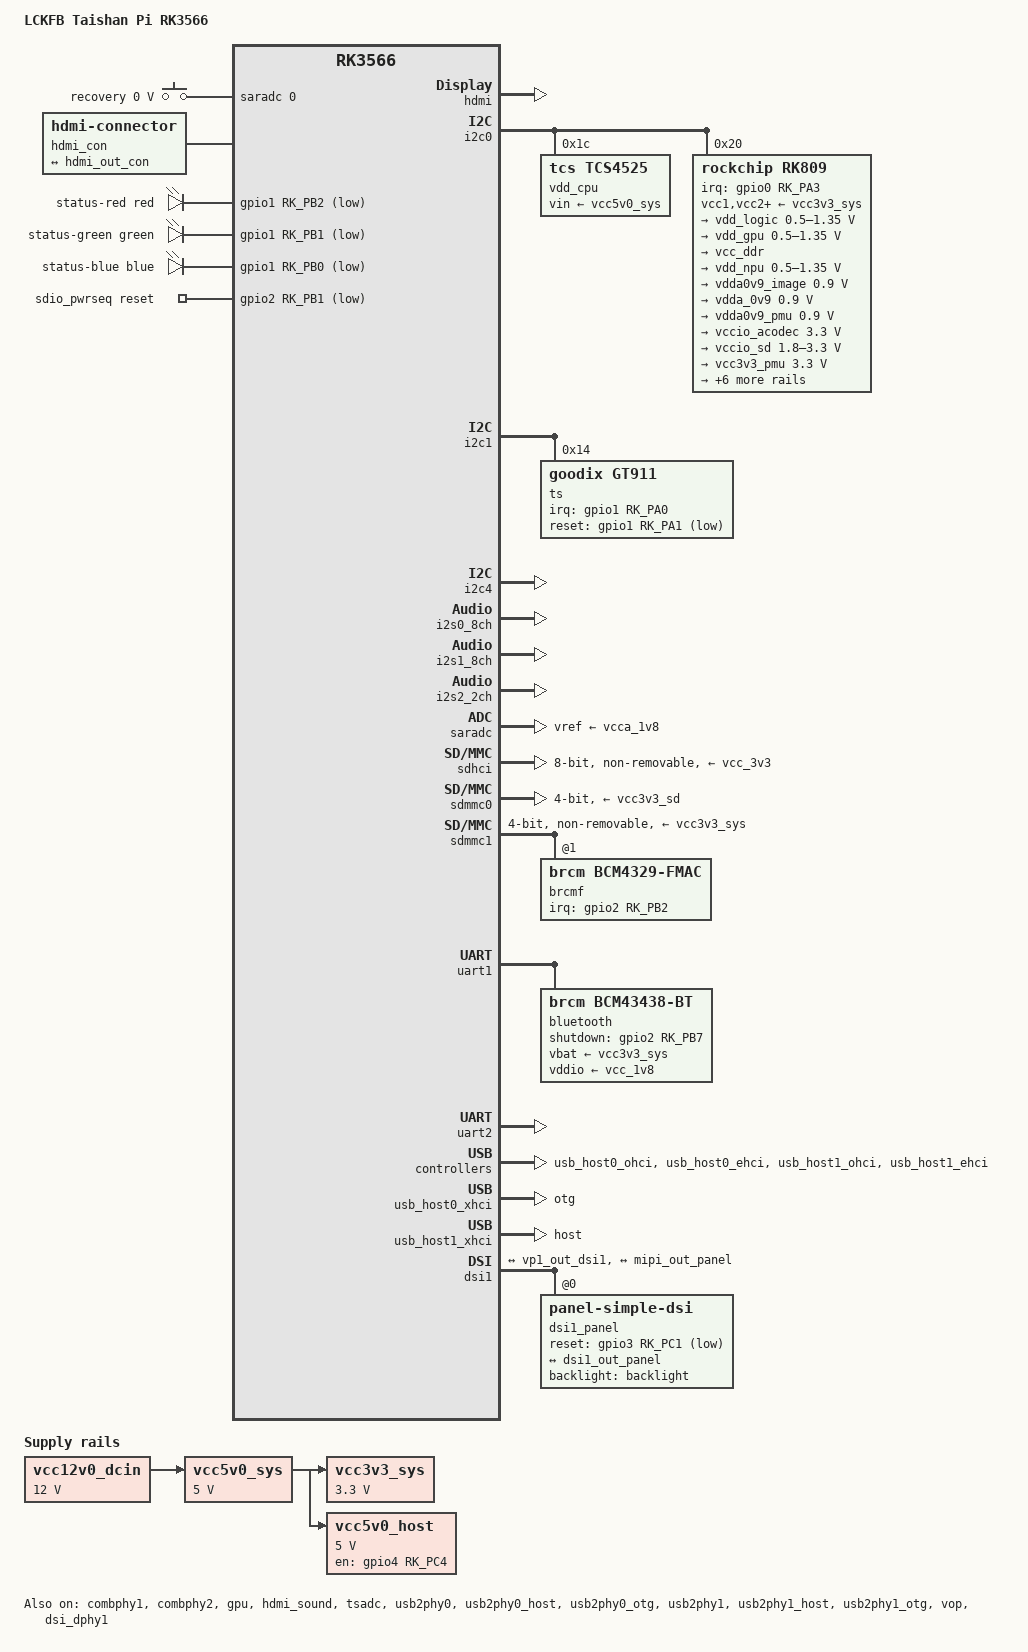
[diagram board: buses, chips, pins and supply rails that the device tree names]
// SPDX-License-Identifier: (GPL-2.0+ OR MIT)

/dts-v1/;

#include <dt-bindings/gpio/gpio.h>
#include <dt-bindings/input/input.h>
#include <dt-bindings/leds/common.h>
#include <dt-bindings/pinctrl/rockchip.h>
#include <dt-bindings/soc/rockchip,vop2.h>
#include <dt-bindings/soc/rockchip,boot-mode.h>
#include "rk3566.dtsi"

/ {
	model = "LCKFB Taishan Pi RK3566";
	compatible = "lckfb,tspi-rk3566", "rockchip,rk3566";

	aliases {
		mmc0 = &sdmmc0;
		mmc1 = &sdhci;
		mmc2 = &sdmmc1;
	};

	chosen: chosen {
		stdout-path = "serial2:1500000n8";
	};

	reserved-memory {
		#address-cells = <2>;
		#size-cells = <2>;
		ranges;

		ramoops: ramoops@110000 {
			compatible = "ramoops";
			reg = <0 0x110000 0 0xf0000>;
			console-size = <0x80000>;
			ftrace-size = <0x00000>;
			pmsg-size = <0x50000>;
			record-size = <0x20000>;
		};
	};

	adc_keys: adc-keys {
		compatible = "adc-keys";
		io-channels = <&saradc 0>;
		io-channel-names = "buttons";
		keyup-threshold-microvolt = <1800000>;
		poll-interval = <100>;

		button-recovery {
			label = "recovery";
			linux,code = <KEY_RESTART>;
			press-threshold-microvolt = <108>;
		};
	};

	hdmi_con: hdmi-con {
		compatible = "hdmi-connector";
		type = "d";

		port {
			hdmi_con_in: endpoint {
				remote-endpoint = <&hdmi_out_con>;
			};
		};
	};

	leds: leds {
		compatible = "gpio-leds";

		rgb_led_r: rgb-led-r {
			color = <LED_COLOR_ID_RED>;
			gpios = <&gpio1 RK_PB2 GPIO_ACTIVE_LOW>;
			label = "status-red";
			linux,default-trigger = "heartbeat";
		};

		rgb_led_g: rgb-led-g {
			gpios = <&gpio1 RK_PB1 GPIO_ACTIVE_LOW>;
			color = <LED_COLOR_ID_GREEN>;
			label = "status-green";
		};

		rgb_led_b: rgb-led-b {
			gpios = <&gpio1 RK_PB0 GPIO_ACTIVE_LOW>;
			color = <LED_COLOR_ID_BLUE>;
			label = "status-blue";
		};
	};

	// multi_leds: multi-led {
	// 	compatible = "leds-group-multicolor";
	// 	color = <LED_COLOR_ID_RGB>;
	// 	label = "status-rgb";
	// 	function = LED_FUNCTION_INDICATOR;
	// 	leds = <&rgb_led_r>, <&rgb_led_g>, <&rgb_led_b>;
	// };

	vcc12v0_dcin: regulator-12v0-dcin {
		compatible = "regulator-fixed";
		regulator-name = "vcc12v0_dcin";
		regulator-always-on;
		regulator-boot-on;
		regulator-min-microvolt = <12000000>;
		regulator-max-microvolt = <12000000>;
	};

	vcc3v3_sys: regulator-3v3-vcc-sys {
		compatible = "regulator-fixed";
		regulator-name = "vcc3v3_sys";
		regulator-always-on;
		regulator-boot-on;
		regulator-min-microvolt = <3300000>;
		regulator-max-microvolt = <3300000>;
		vin-supply = <&vcc5v0_sys>;
	};

	vcc5v0_sys: regulator-5v0-vcc-sys {
		compatible = "regulator-fixed";
		regulator-name = "vcc5v0_sys";
		regulator-always-on;
		regulator-boot-on;
		regulator-min-microvolt = <5000000>;
		regulator-max-microvolt = <5000000>;
		vin-supply = <&vcc12v0_dcin>;
	};

	vcc5v0_host: regulator-5v0-vcc-host {
		compatible = "regulator-fixed";
		enable-active-high;
		gpio = <&gpio4 RK_PC4 GPIO_ACTIVE_HIGH>;
		pinctrl-names = "default";
		pinctrl-0 = <&vcc5v0_host_en>;
		regulator-name = "vcc5v0_host";
		regulator-min-microvolt = <5000000>;
		regulator-max-microvolt = <5000000>;
		vin-supply = <&vcc5v0_sys>;
	};

	sdio_pwrseq: sdio-pwrseq {
		compatible = "mmc-pwrseq-simple";
		clocks = <&rk809 1>;
		clock-names = "ext_clock";
		pinctrl-names = "default";
		pinctrl-0 = <&wifi_enable_h>;
		post-power-on-delay-ms = <200>;
		reset-gpios = <&gpio2 RK_PB1 GPIO_ACTIVE_LOW>;
	};

	sound {
		compatible = "simple-audio-card";
		simple-audio-card,format = "i2s";
		simple-audio-card,name = "Analog RK809";
		simple-audio-card,mclk-fs = <256>;

		simple-audio-card,cpu {
			sound-dai = <&i2s1_8ch>;
		};

		simple-audio-card,codec {
			sound-dai = <&rk809>;
		};
	};
};

&combphy1 {
	status = "okay";
};

&combphy2 {
	status = "okay";
};

&cpu0 {
	cpu-supply = <&vdd_cpu>;
};

&cpu1 {
	cpu-supply = <&vdd_cpu>;
};

&cpu2 {
	cpu-supply = <&vdd_cpu>;
};

&cpu3 {
	cpu-supply = <&vdd_cpu>;
};

&gpu {
	mali-supply = <&vdd_gpu>;
	status = "okay";
};

&hdmi {
	avdd-0v9-supply = <&vdda0v9_image>;
	avdd-1v8-supply = <&vcca1v8_image>;
	status = "okay";
};

&hdmi_in {
	hdmi_in_vp0: endpoint {
		remote-endpoint = <&vp0_out_hdmi>;
	};
};

&hdmi_out {
	hdmi_out_con: endpoint {
		remote-endpoint = <&hdmi_con_in>;
	};
};

&hdmi_sound {
	status = "okay";
};

&i2c0 {
	status = "okay";

	vdd_cpu: regulator@1c {
		compatible = "tcs,tcs4525";
		reg = <0x1c>;
		fcs,suspend-voltage-selector = <1>;
		regulator-name = "vdd_cpu";
		regulator-always-on;
		regulator-boot-on;
		regulator-min-microvolt = <800000>;
		regulator-max-microvolt = <1150000>;
		regulator-ramp-delay = <2300>;
		vin-supply = <&vcc5v0_sys>;

		regulator-state-mem {
			regulator-off-in-suspend;
		};
	};

	rk809: pmic@20 {
		compatible = "rockchip,rk809";
		reg = <0x20>;
		assigned-clocks = <&cru I2S1_MCLKOUT_TX>;
		assigned-clock-parents = <&cru CLK_I2S1_8CH_TX>;
		#clock-cells = <1>;
		clock-output-names = "rk808-clkout1", "rk808-clkout2";
		clock-names = "mclk";
		clocks = <&cru I2S1_MCLKOUT_TX>;
		interrupt-parent = <&gpio0>;
		interrupts = <RK_PA3 IRQ_TYPE_LEVEL_LOW>;
		pinctrl-names = "default";
		pinctrl-0 = <&pmic_int>, <&i2s1m0_mclk>;
		system-power-controller;
		#sound-dai-cells = <0>;
		wakeup-source;

		vcc1-supply = <&vcc3v3_sys>;
		vcc2-supply = <&vcc3v3_sys>;
		vcc3-supply = <&vcc3v3_sys>;
		vcc4-supply = <&vcc3v3_sys>;
		vcc5-supply = <&vcc3v3_sys>;
		vcc6-supply = <&vcc3v3_sys>;
		vcc7-supply = <&vcc3v3_sys>;
		vcc8-supply = <&vcc3v3_sys>;
		vcc9-supply = <&vcc3v3_sys>;

		regulators {
			vdd_logic: DCDC_REG1 {
				regulator-name = "vdd_logic";
				regulator-always-on;
				regulator-boot-on;
				regulator-min-microvolt = <500000>;
				regulator-max-microvolt = <1350000>;
				regulator-ramp-delay = <6001>;
				regulator-initial-mode = <0x2>;

				regulator-state-mem {
					regulator-off-in-suspend;
				};
			};

			vdd_gpu: DCDC_REG2 {
				regulator-name = "vdd_gpu";
				regulator-always-on;
				regulator-boot-on;
				regulator-min-microvolt = <500000>;
				regulator-max-microvolt = <1350000>;
				regulator-ramp-delay = <6001>;
				regulator-initial-mode = <0x2>;

				regulator-state-mem {
					regulator-off-in-suspend;
				};
			};

			vcc_ddr: DCDC_REG3 {
				regulator-name = "vcc_ddr";
				regulator-always-on;
				regulator-boot-on;
				regulator-initial-mode = <0x2>;

				regulator-state-mem {
					regulator-on-in-suspend;
				};
			};

			vdd_npu: DCDC_REG4 {
				regulator-name = "vdd_npu";
				regulator-always-on;
				regulator-boot-on;
				regulator-min-microvolt = <500000>;
				regulator-max-microvolt = <1350000>;
				regulator-ramp-delay = <6001>;
				regulator-initial-mode = <0x2>;

				regulator-state-mem {
					regulator-off-in-suspend;
				};
			};

			vdda0v9_image: LDO_REG1 {
				regulator-name = "vdda0v9_image";
				regulator-boot-on;
				regulator-always-on;
				regulator-min-microvolt = <900000>;
				regulator-max-microvolt = <900000>;

				regulator-state-mem {
					regulator-off-in-suspend;
				};
			};

			vdda_0v9: LDO_REG2 {
				regulator-name = "vdda_0v9";
				regulator-always-on;
				regulator-boot-on;
				regulator-min-microvolt = <900000>;
				regulator-max-microvolt = <900000>;
				regulator-state-mem {
					regulator-off-in-suspend;
				};
			};

			vdda0v9_pmu: LDO_REG3 {
				regulator-name = "vdda0v9_pmu";
				regulator-always-on;
				regulator-boot-on;
				regulator-min-microvolt = <900000>;
				regulator-max-microvolt = <900000>;

				regulator-state-mem {
					regulator-on-in-suspend;
					regulator-suspend-microvolt = <900000>;
				};
			};

			vccio_acodec: LDO_REG4 {
				regulator-name = "vccio_acodec";
				regulator-always-on;
				regulator-boot-on;
				regulator-min-microvolt = <3300000>;
				regulator-max-microvolt = <3300000>;

				regulator-state-mem {
					regulator-off-in-suspend;
				};
			};

			vccio_sd: LDO_REG5 {
				regulator-name = "vccio_sd";
				regulator-always-on;
				regulator-boot-on;
				regulator-min-microvolt = <1800000>;
				regulator-max-microvolt = <3300000>;

				regulator-state-mem {
					regulator-off-in-suspend;
				};
			};

			vcc3v3_pmu: LDO_REG6 {
				regulator-name = "vcc3v3_pmu";
				regulator-always-on;
				regulator-boot-on;
				regulator-min-microvolt = <3300000>;
				regulator-max-microvolt = <3300000>;

				regulator-state-mem {
					regulator-on-in-suspend;
					regulator-suspend-microvolt = <3300000>;
				};
			};

			vcca_1v8: LDO_REG7 {
				regulator-name = "vcca_1v8";
				regulator-always-on;
				regulator-boot-on;
				regulator-min-microvolt = <1800000>;
				regulator-max-microvolt = <1800000>;

				regulator-state-mem {
					regulator-off-in-suspend;
				};
			};

			vcca1v8_pmu: LDO_REG8 {
				regulator-name = "vcca1v8_pmu";
				regulator-always-on;
				regulator-boot-on;
				regulator-min-microvolt = <1800000>;
				regulator-max-microvolt = <1800000>;

				regulator-state-mem {
					regulator-on-in-suspend;
					regulator-suspend-microvolt = <1800000>;
				};
			};

			vcca1v8_image: LDO_REG9 {
				regulator-name = "vcca1v8_image";
				regulator-always-on;
				regulator-boot-on;
				regulator-min-microvolt = <1800000>;
				regulator-max-microvolt = <1800000>;

				regulator-state-mem {
					regulator-off-in-suspend;
				};
			};

			vcc_1v8: DCDC_REG5 {
				regulator-name = "vcc_1v8";
				regulator-always-on;
				regulator-boot-on;
				regulator-min-microvolt = <1800000>;
				regulator-max-microvolt = <1800000>;

				regulator-state-mem {
					regulator-off-in-suspend;
				};
			};

			vcc_3v3: SWITCH_REG1 {
				regulator-name = "vcc_3v3";
				regulator-always-on;
				regulator-boot-on;

				regulator-state-mem {
					regulator-off-in-suspend;
				};
			};

			vcc3v3_sd: SWITCH_REG2 {
				regulator-name = "vcc3v3_sd";
				regulator-always-on;
				regulator-boot-on;

				regulator-state-mem {
					regulator-off-in-suspend;
				};
			};
		};

		codec {
			rockchip,mic-in-differential;
		};
	};
};

&i2c1 {
	pinctrl-names = "default";
	// pinctrl-0 = <&i2c4m0_xfer>;
	status = "okay";
	/* Touch Screen */
	ts@14 {
		// pinctrl-0 = <&touch_gpio>;
		// compatible = "goodix,gt9xx";
		// reg = <0x5d>;
		// tp-size = <911>;
		// max-x = <720>;
		// max-y = <1280>;
		// touch-gpio = <&gpio1 RK_PA0 IRQ_TYPE_LEVEL_LOW>;
		// reset-gpio = <&gpio1 RK_PA1 GPIO_ACTIVE_HIGH>;

		compatible = "goodix,gt911";
		reg = <0x14>;
		pinctrl-names = "default";
		pinctrl-0 = <&touch_gpio_int>, <&touch_gpio_rst>;
		interrupt-parent = <&gpio1>;
		interrupts = <RK_PA0 IRQ_TYPE_EDGE_FALLING>;
		irq-gpios = <&gpio1 RK_PA0 GPIO_ACTIVE_HIGH>;
		reset-gpios = <&gpio1 RK_PA1 GPIO_ACTIVE_LOW>;
		status = "okay";
	};
};

&i2c4 {
	pinctrl-names = "default";
	pinctrl-0 = <&i2c4m0_xfer>;
	status = "okay";
	/* Camera */
};

&i2s0_8ch {
	status = "okay";
	/* HDMI */
};

&i2s1_8ch {
	pinctrl-names = "default";
	pinctrl-0 = <&i2s1m0_sclktx &i2s1m0_lrcktx &i2s1m0_sdi0 &i2s1m0_sdo0>;
	rockchip,trcm-sync-tx-only;
	status = "okay";
	/* PMIC */
};

&i2s2_2ch {
	rockchip,trcm-sync-tx-only;
	status = "okay";
	/* AP6212 Bluetooth */
};

&pinctrl {
	bt {
		bt_enable_h: bt-enable-h {
			rockchip,pins = <2 RK_PB7 RK_FUNC_GPIO &pcfg_pull_none>;
		};

		bt_host_wake_l: bt-host-wake-l {
			rockchip,pins = <2 RK_PC0 RK_FUNC_GPIO &pcfg_pull_down>;
		};

		bt_wake_l: bt-wake-l {
			rockchip,pins = <2 RK_PC1 RK_FUNC_GPIO &pcfg_pull_none>;
		};
	};

	hp-detect {
		hp_det: hp-det {
			rockchip,pins = <4 RK_PC6 RK_FUNC_GPIO &pcfg_pull_up>;
		};
	};

	pmic {
		pmic_int: pmic-int {
			rockchip,pins = <0 RK_PA3 RK_FUNC_GPIO &pcfg_pull_up>;
		};
	};

	sdio-pwrseq {
		wifi_enable_h: wifi-enable-h {
			rockchip,pins = <2 RK_PB1 RK_FUNC_GPIO &pcfg_pull_none>;
		};

		wifi_host_wake_h: wifi-host-wake-l {
			rockchip,pins = <2 RK_PB2 RK_FUNC_GPIO &pcfg_pull_none>;
		};
	};

	usb2 {
		vcc5v0_host_en: vcc5v0-host-en {
			rockchip,pins = <4 RK_PC4 RK_FUNC_GPIO &pcfg_pull_none>;
		};
	};

	dsi1 {
		dsi1_rst_gpio: dsi1-rst-gpio {
			rockchip,pins = <3 RK_PC1 RK_FUNC_GPIO &pcfg_pull_none>;
		};
		touch_gpio_int: touch-gpio-int {
			rockchip,pins = <1 RK_PA0 RK_FUNC_GPIO &pcfg_pull_up>;
			// rockchip,pins = <1 RK_PA1 RK_FUNC_GPIO &pcfg_pull_none>;
		};

		touch_gpio_rst: touch-gpio-rst {
			// rockchip,pins = <1 RK_PA0 RK_FUNC_GPIO &pcfg_pull_up>;
			rockchip,pins = <1 RK_PA1 RK_FUNC_GPIO &pcfg_pull_none>;
		};
	};
};

&pmu_io_domains {
	pmuio1-supply = <&vcc3v3_pmu>;
	pmuio2-supply = <&vcc3v3_pmu>;
	vccio1-supply = <&vccio_acodec>;
	vccio2-supply = <&vcc_1v8>;
	vccio3-supply = <&vccio_sd>;
	vccio4-supply = <&vcc_1v8>;
	vccio5-supply = <&vcc_3v3>;
	vccio6-supply = <&vcc_1v8>;
	vccio7-supply = <&vcc_3v3>;
	status = "okay";
};

&pmugrf {
	reboot-mode {
		compatible = "syscon-reboot-mode";
		offset = <0x200>;
		mode-normal = <BOOT_NORMAL>;
		mode-loader = <BOOT_BL_DOWNLOAD>;
		mode-recovery = <BOOT_RECOVERY>;
		mode-bootloader = <BOOT_FASTBOOT>;
	};
};

&saradc {
	vref-supply = <&vcca_1v8>;
	status = "okay";
	/* Channel 0: Recovery Button */
	/* Channel 1: Hardware ID */
};

&sdhci {
	bus-width = <8>;
	max-frequency = <200000000>;
	non-removable;
	pinctrl-names = "default";
	pinctrl-0 = <&emmc_bus8 &emmc_clk &emmc_cmd &emmc_datastrobe &emmc_rstnout>;
	vmmc-supply = <&vcc_3v3>;
	vqmmc-supply = <&vcc_1v8>;
	status = "okay";
};

&sdmmc0 {
	bus-width = <4>;
	cap-mmc-highspeed;
	cap-sd-highspeed;
	disable-wp;
	max-frequency = <150000000>;
	pinctrl-names = "default";
	pinctrl-0 = <&sdmmc0_bus4 &sdmmc0_clk &sdmmc0_cmd &sdmmc0_det>;
	sd-uhs-sdr104;
	vmmc-supply = <&vcc3v3_sd>;
	vqmmc-supply = <&vcc_1v8>;
	status = "okay";
};

&sdmmc1 {
	bus-width = <4>;
	cap-sd-highspeed;
	cap-sdio-irq;
	disable-wp;
	keep-power-in-suspend;
	max-frequency = <150000000>;
	mmc-pwrseq = <&sdio_pwrseq>;
	non-removable;
	pinctrl-names = "default";
	pinctrl-0 = <&sdmmc1_bus4 &sdmmc1_cmd &sdmmc1_clk>;
	sd-uhs-sdr104;
	vmmc-supply = <&vcc3v3_sys>;
	vqmmc-supply = <&vcc_1v8>;
	#address-cells = <1>;
	#size-cells = <0>;
	status = "okay";

	brcmf: wifi@1 {
		compatible = "brcm,bcm4329-fmac";
		reg = <1>;
		interrupt-parent = <&gpio2>;
		interrupts = <RK_PB2 IRQ_TYPE_LEVEL_HIGH>;
		interrupt-names = "host-wake";
		pinctrl-names = "default";
		pinctrl-0 = <&wifi_host_wake_h>;
	};
};

&tsadc {
	rockchip,hw-tshut-mode = <1>;
	rockchip,hw-tshut-polarity = <0>;
	status = "okay";
};

&uart1 {
	pinctrl-names = "default";
	pinctrl-0 = <&uart1m0_xfer &uart1m0_ctsn &uart1m0_rtsn>;
	uart-has-rtscts;
	status = "okay";

	bluetooth: bluetooth {
		compatible = "brcm,bcm43438-bt";
		clocks = <&rk809 1>;
		clock-names = "lpo";
		max-speed = <3000000>;
		pinctrl-names = "default";
		pinctrl-0 = <&bt_host_wake_l &bt_wake_l &bt_enable_h>;
		shutdown-gpios = <&gpio2 RK_PB7 GPIO_ACTIVE_HIGH>;
		vbat-supply = <&vcc3v3_sys>;
		vddio-supply = <&vcc_1v8>;
	};
};

&uart2 {
	pinctrl-names = "default";
	pinctrl-0 = <&uart2m0_xfer>;
	status = "okay";
};

&usb_host0_ohci {
	status = "okay";
};

&usb_host0_ehci {
	status = "okay";
};

&usb_host0_xhci {
	dr_mode = "otg";
	status = "okay";
};

&usb_host1_ohci {
	status = "okay";
};

&usb_host1_ehci {
	status = "okay";
};

&usb_host1_xhci {
	dr_mode = "host";
	status = "okay";
};

&usb2phy0 {
	status = "okay";
};

&usb2phy0_host {
	phy-supply = <&vcc5v0_sys>;
	status = "okay";
};

&usb2phy0_otg {
	phy-supply = <&vcc5v0_sys>;
	status = "okay";
};

&usb2phy1 {
	status = "okay";
};

&usb2phy1_host {
	phy-supply = <&vcc5v0_host>;
	status = "okay";
};

&usb2phy1_otg {
	phy-supply = <&vcc5v0_host>;
	status = "okay";
};

&vop {
	assigned-clocks = <&cru DCLK_VOP0>, <&cru DCLK_VOP1>;
	assigned-clock-parents = <&pmucru PLL_HPLL>, <&cru PLL_VPLL>;
	status = "okay";
};

&vop_mmu {
	status = "okay";
};

&vp0 {
	vp0_out_hdmi: endpoint@ROCKCHIP_VOP2_EP_HDMI0 {
		reg = <ROCKCHIP_VOP2_EP_HDMI0>;
		remote-endpoint = <&hdmi_in_vp0>;
	};
};


&vp1 {
	vp1_out_dsi1: endpoint@ROCKCHIP_VOP2_EP_MIPI1 {
		reg = <ROCKCHIP_VOP2_EP_MIPI1>;
		remote-endpoint = <&dsi1_in_vp1>;
	};
};
&dsi1 {
	status = "okay";
	#address-cells = <1>;
	#size-cells = <0>;

	ports {
		dsi1_in: port@0 {
			reg = <0>;
			dsi1_in_vp1: endpoint {
				remote-endpoint = <&vp1_out_dsi1>;
			};
		};

		dsi1_out: port@1 {
			reg = <1>;
			mipi_out_panel: endpoint {
				remote-endpoint = <&mipi_in_panel>;
			};
		};
	};
};

&dsi_dphy1 {
	status = "okay";
};
// mipi 屏幕使用dsi1接口,vp1
/*
 * video_phy1 needs to be enabled
 * when dsi1 is enabled
 */
// &dsi1 {
// 	status = "okay";
// };

// &dsi1_in_vp0 {
// 	status = "disabled";
// };

// &dsi1_in_vp1 {
// 	status = "okay";
// };



// STL6.0-1-2-A
&dsi1 {
	status = "okay";
	rockchip,lane-rate = <580>; //(720+8+8+16)*(1280+8+8+16)*60*3*8/3,+100mhz
	dsi1_panel: panel@0 {
		status = "okay";
		compatible = "panel-simple-dsi";
		reset-gpios = <&gpio3 RK_PC1 GPIO_ACTIVE_LOW>;
		pinctrl-names = "default";
		pinctrl-0 = <&dsi1_rst_gpio>;
		reg = <0>;
		backlight = <&backlight>;
		reset-delay-ms = <200>;
		enable-delay-ms = <100>;
		prepare-delay-ms = <20>;
		unprepare-delay-ms = <20>;
		disable-delay-ms = <20>;
		init-delay-ms = <120>;
		dsi,flags = <(MIPI_DSI_MODE_VIDEO | MIPI_DSI_MODE_VIDEO_BURST |
			MIPI_DSI_MODE_LPM | MIPI_DSI_MODE_EOT_PACKET)>;
		dsi,format = <MIPI_DSI_FMT_RGB888>;
		dsi,lanes  = <3>;
		width-mm = <74>;
		height-mm = <132>;
		panel-init-sequence = [
			// init code
			// Set EXTC
			39 00 04 B9 FF 83 94
			// Set MIPI
			39 00 03 BA 72 83
			// Set Power HX5186 Mode
			39 00 10 B1 6C 15 15 24 E4 11 F1 80 E4 97 23 80 C0 D2 58
			// Set Display
			39 00 0C B2 00 64 10 07 22 1C 08 08 1C 4D 00
			// Set CYC
			39 00 0D B4 00 FF 03 5A 03 5A 03 5A 01 6A 30 6A
			// Set VDC
			15 00 02 BC 07
			// Set Power ption HX5186 Mode
			39 00 04 BF 41 0E 01
			// Set D3
			39 00 1F D3 00 06 00 40 07 08 00 32 10 07 00 07 54 15 0F 05 04 02 12 10 05 07 33 33 0B 0B 37 10 07 07
			// Set GIP,Forward
			39 00 2D D5 04 05 06 07 00 01 02 03 20 21 22 23 18 18 18 18 18 18 18 18 19 19 18 18 18 18 1B 1B 1A 1A 18 18 18 18 18 18 18 18 18 18 18 18 18 18
			// Set D6,Backward
			39 00 2D D6 03 02 01 00 07 06 05 04 23 22 21 20 18 18 18 18 18 18 58 58 18 18 19 19 18 18 1B 1B 1A 1A 18 18 18 18 18 18 18 18 18 18 18 18 18 18
			// Set Panel
			15 00 02 CC 09 // 08: invert RGB
			// Set VCOM
			39 00 03 B6 51 51
			// Set Gamma
			39 00 2B E0 00 10 16 2D 33 3F 23 3E 07 0B 0D 17 0E 12 14 12 13 06 11 13 18 00 0F 16 2E 33 3F 23 3D 07 0B 0D 18 0F 12 14 12 14 07 11 12 17
			// Set C0
			39 00 03 C0 30 14
			// Set TCON ption
			39 00 05 C7 00 C0 40 C0
			// Set SAP_L ption
			15 00 02 DF 87
			// Set SETOFFSET
			15 00 02 D2 66 
			// 
			15 78 02 11 00
			15 28 02 29 00
		];

		panel-exit-sequence = [
			//05 00 01 28
			//05 00 01 10
		];

		disp_timings1: display-timings {
			native-mode = <&dsi1_timing0>;
			dsi1_timing0: timing0 {
				clock-frequency = <59197440>;// (720+8+8+16)*(1280+8+8+16)*60

				hactive = <720>;
				hfront-porch = <8>;
				hback-porch = <8>;
				hsync-len = <16>;

				vactive = <1280>;
				vfront-porch = <8>;
				vback-porch = <8>;
				vsync-len = <16>;

				hsync-active = <0>;
				vsync-active = <0>;
				de-active = <0>;
				pixelclk-active = <0>;

				swap-rb = <0>;
				swap-rg = <0>;
				swap-gb = <0>;
			};
		};

	ports {
			#address-cells = <1>;
			#size-cells = <0>;

			port@0 {
				reg = <0>;
				mipi_in_panel: endpoint {
					remote-endpoint = <&dsi1_out_panel>;
				};
			};
		};
	};

	ports {
		#address-cells = <1>;
		#size-cells = <0>;

		port@1 {
			reg = <1>;
			dsi1_out_panel: endpoint {
				remote-endpoint = <&mipi_out_panel>;
			};
		};
	};

};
